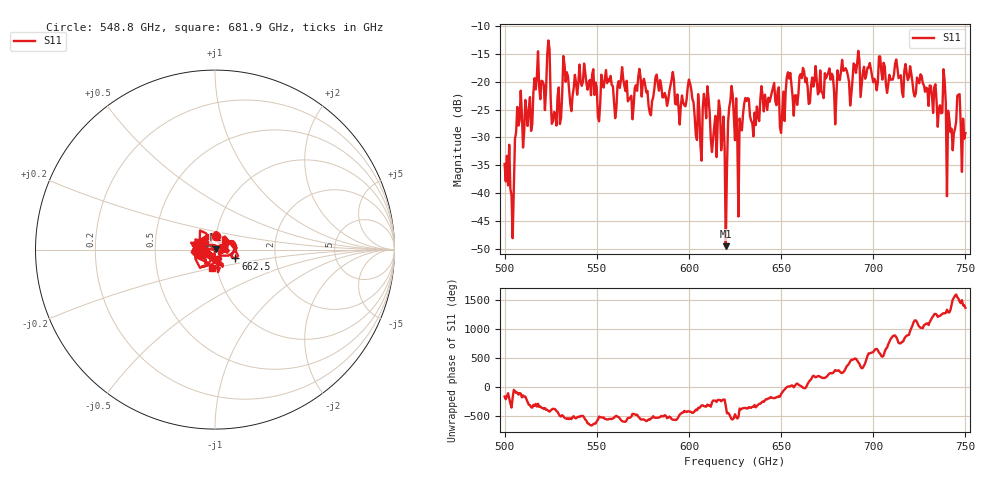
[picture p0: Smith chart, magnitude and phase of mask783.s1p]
!Created with skrf (http://scikit-rf.org).
# GHz S MA R 50.0
!freq magS11 angS11
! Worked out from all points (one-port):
!   401 points, 500 GHz to 750 GHz, reference 50 ohm
!   lowest |S11| = -49.6 dB at 620 GHz (marker M1), VSWR 1.01, Z = 50.3 + j0.172 ohm
!   |S11| at or under -10 dB: start of sweep to end of sweep
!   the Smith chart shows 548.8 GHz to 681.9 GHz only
!   S11 on the Smith chart (normalised r, x): 548.8 GHz: 1.00, +0.15; 662.5 GHz: 1.25, -0.13; 681.9 GHz: 0.95, -0.20
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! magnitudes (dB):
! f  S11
! 500 GHz  -34.8
! 504.4 GHz  -48.1
! 507.5 GHz  -27.9
! 513.8 GHz  -22.8
! 516.9 GHz  -21.4
! 523.8 GHz  -12.6
! 526.9 GHz  -25.4
! 531.2 GHz  -22.1
! 548.8 GHz  -22.4
! 562.5 GHz  -21.1
! 593.8 GHz  -22.3
! 600.6 GHz  -20.3
! 605.6 GHz  -25.1
! 609.4 GHz  -26.6
! 613.8 GHz  -28.0
! 617.5 GHz  -32.3
! 620 GHz  -49.6
! 622.5 GHz  -23.4
! 625 GHz  -30.5
! 627.5 GHz  -26.6
! 631.2 GHz  -23.5
! 635 GHz  -29.8
! 656.2 GHz  -22.7
! 662.5 GHz  -18.1
! 681.9 GHz  -19.7
! 687.5 GHz  -24.3
! 718.8 GHz  -19.7
! 750 GHz  -29.2
